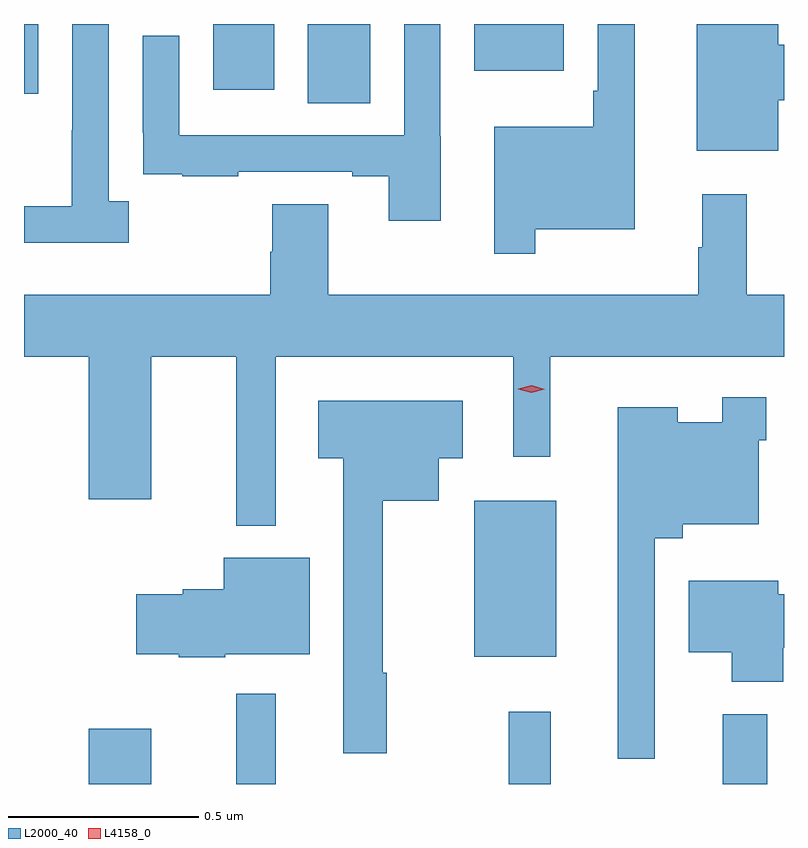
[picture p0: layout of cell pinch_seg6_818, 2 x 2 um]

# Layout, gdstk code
import gdstk
lib = gdstk.Library(unit=1e-6, precision=1e-09)
def R(c, l, rs):  # rectangles x0, y0, x1, y1
    for r in rs: c.add(gdstk.rectangle(r[:2], r[2:], *l))
def P(c, l, *ps):  # polygons
    for p in ps: c.add(gdstk.Polygon(p, *l))
L2000_40 = (2000, 40)
L4158_0 = (4158, 0)

pinch_seg6_818 = lib.new_cell('pinch_seg6_818')
R(pinch_seg6_818, L2000_40, [(248.924,960.864,249.088,961.009), (249.311,960.864,249.415,961.102), (250.029,960.864,250.139,961.054), (250.592,960.864,250.709,961.048), (249.938,961.199,250.153,961.609), (249.5,962.656,249.664,962.864), (248.753,962.681,248.791,962.864), (249.251,962.691,249.412,962.864), (249.938,962.741,250.174,962.864)])
P(pinch_seg6_818, L2000_40, [(249.85,962.568),(249.849,962.568),(249.849,962.864),(249.753,962.864),(249.753,962.571),(249.162,962.571),(249.162,962.833),(249.066,962.833),(249.066,962.578),(249.067,962.578),(249.067,962.469),(249.169,962.469),(249.169,962.463),(249.317,962.463),(249.317,962.475),(249.617,962.475),(249.617,962.463),(249.713,962.463),(249.713,962.346),(249.85,962.346)],
  [(250.738,962.663),(250.753,962.663),(250.753,962.81),(250.738,962.81),(250.738,962.864),(250.523,962.864),(250.523,962.531),(250.738,962.531)],
  [(250.099,962.324),(250.36,962.324),(250.36,962.864),(250.263,962.864),(250.263,962.689),(250.251,962.689),(250.251,962.593),(249.99,962.593),(249.99,962.259),(250.099,962.259)],
  [(249.028,962.398),(248.976,962.398),(248.976,962.864),(248.88,962.864),(248.88,962.585),(248.879,962.585),(248.879,962.385),(248.753,962.385),(248.753,962.288),(249.028,962.288)],
  [(249.415,961.988),(250.04,961.988),(250.04,961.725),(250.138,961.725),(250.138,961.988),(250.753,961.988),(250.753,962.152),(250.655,962.152),(250.655,962.416),(250.538,962.416),(250.538,962.276),(250.527,962.276),(250.527,962.152),(249.553,962.152),(249.553,962.39),(249.406,962.39),(249.406,962.265),(249.401,962.265),(249.401,962.152),(248.753,962.152),(248.753,961.988),(248.924,961.988),(248.924,961.614),(249.088,961.614),(249.088,961.988),(249.311,961.988),(249.311,961.544),(249.415,961.544)],
  [(250.413,961.511),(250.487,961.511),(250.487,961.547),(250.686,961.547),(250.686,961.769),(250.706,961.769),(250.706,961.882),(250.59,961.882),(250.59,961.816),(250.474,961.816),(250.474,961.855),(250.316,961.855),(250.316,960.93),(250.413,960.93)],
  [(249.707,961.157),(249.697,961.157),(249.697,961.61),(249.844,961.61),(249.844,961.721),(249.907,961.721),(249.907,961.873),(249.527,961.873),(249.527,961.721),(249.593,961.721),(249.593,960.945),(249.707,960.945)],
  [(249.282,961.205),(249.505,961.205),(249.505,961.459),(249.278,961.459),(249.278,961.376),(249.171,961.376),(249.171,961.363),(249.048,961.363),(249.048,961.205),(249.16,961.205),(249.16,961.198),(249.282,961.198)],
  [(250.751,961.222),(250.753,961.222),(250.753,961.364),(250.738,961.364),(250.738,961.399),(250.502,961.399),(250.502,961.211),(250.616,961.211),(250.616,961.133),(250.751,961.133)])
P(pinch_seg6_818, L4158_0, [(250.088,961.893),(250.053,961.903),(250.053,961.903),(250.053,961.904),(250.089,961.913),(250.124,961.903),(250.124,961.903),(250.124,961.903)])

lib.write_gds('pinch_seg6_818.gds')
